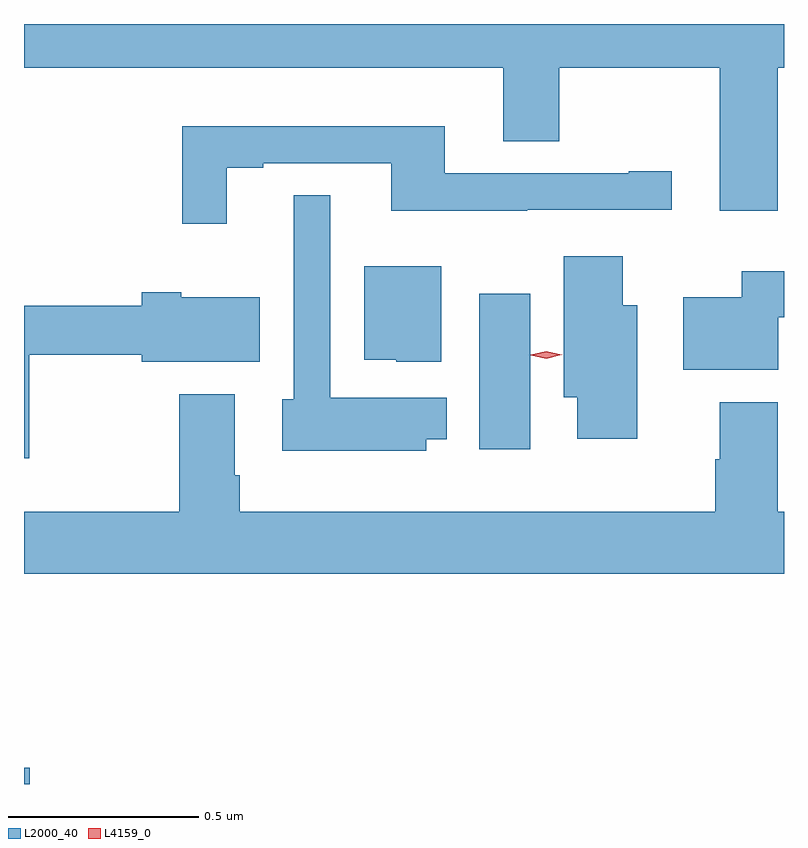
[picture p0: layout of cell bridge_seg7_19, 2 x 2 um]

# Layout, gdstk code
import gdstk
lib = gdstk.Library(unit=1e-6, precision=1e-09)
def R(c, l, rs):  # rectangles x0, y0, x1, y1
    for r in rs: c.add(gdstk.rectangle(r[:2], r[2:], *l))
def P(c, l, *ps):  # polygons
    for p in ps: c.add(gdstk.Polygon(p, *l))
L2000_40 = (2000, 40)
L4159_0 = (4159, 0)

bridge_seg7_19 = lib.new_cell('bridge_seg7_19')
R(bridge_seg7_19, L2000_40, [(1054.828,1066.663,1054.843,1066.706), (1056.026,1067.544,1056.16,1067.953)])
P(bridge_seg7_19, L2000_40, [(1056.812,1068.548),(1056.828,1068.548),(1056.828,1068.663),(1054.828,1068.663),(1054.828,1068.548),(1056.089,1068.548),(1056.089,1068.355),(1056.237,1068.355),(1056.237,1068.548),(1056.659,1068.548),(1056.659,1068.171),(1056.812,1068.171)],
  [(1055.362,1068.285),(1055.458,1068.285),(1055.458,1068.297),(1055.795,1068.297),(1055.795,1068.172),(1056.152,1068.172),(1056.152,1068.174),(1056.532,1068.174),(1056.532,1068.275),(1056.419,1068.275),(1056.419,1068.27),(1055.935,1068.27),(1055.935,1068.394),(1055.245,1068.394),(1055.245,1068.138),(1055.362,1068.138)],
  [(1055.887,1067.57),(1055.941,1067.57),(1055.941,1067.68),(1055.634,1067.68),(1055.634,1068.212),(1055.538,1068.212),(1055.538,1067.675),(1055.507,1067.675),(1055.507,1067.54),(1055.887,1067.54)],
  [(1056.442,1067.923),(1056.403,1067.923),(1056.403,1068.052),(1056.248,1068.052),(1056.248,1067.681),(1056.284,1067.681),(1056.284,1067.571),(1056.442,1067.571)],
  [(1055.926,1068.025),(1055.723,1068.025),(1055.723,1067.78),(1055.808,1067.78),(1055.808,1067.774),(1055.926,1067.774)],
  [(1056.813,1067.891),(1056.828,1067.891),(1056.828,1068.013),(1056.717,1068.013),(1056.717,1067.944),(1056.563,1067.944),(1056.563,1067.753),(1056.813,1067.753)],
  [(1054.842,1067.793),(1055.138,1067.793),(1055.138,1067.774),(1055.449,1067.774),(1055.449,1067.944),(1055.242,1067.944),(1055.242,1067.957),(1055.138,1067.957),(1055.138,1067.921),(1054.828,1067.921),(1054.828,1067.52),(1054.842,1067.52)],
  [(1055.383,1067.476),(1055.383,1067.689),(1055.236,1067.689),(1055.236,1067.38),(1054.828,1067.38),(1054.828,1067.216),(1056.828,1067.216),(1056.828,1067.38),(1056.812,1067.38),(1056.812,1067.668),(1056.659,1067.668),(1056.659,1067.517),(1056.647,1067.517),(1056.647,1067.38),(1055.396,1067.38),(1055.396,1067.476)])
P(bridge_seg7_19, L4159_0, [(1056.202,1067.782),(1056.161,1067.791),(1056.161,1067.791),(1056.161,1067.792),(1056.202,1067.802),(1056.243,1067.793),(1056.244,1067.793),(1056.243,1067.793)])

lib.write_gds('bridge_seg7_19.gds')
